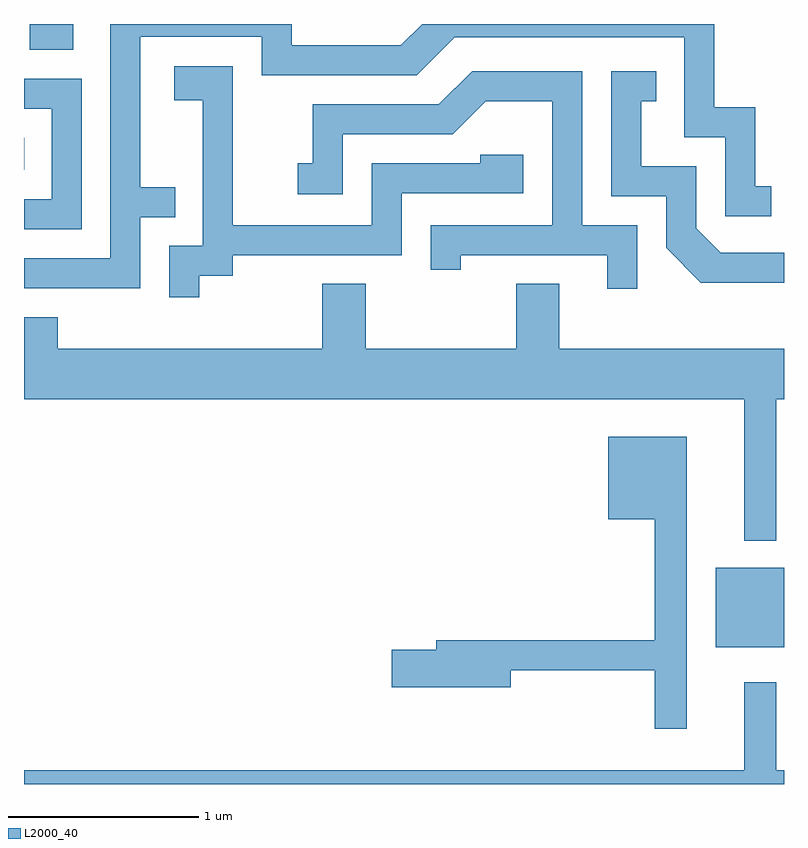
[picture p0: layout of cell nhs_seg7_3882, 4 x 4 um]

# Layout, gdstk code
import gdstk
lib = gdstk.Library(unit=1e-6, precision=1e-09)
def R(c, l, rs):  # rectangles x0, y0, x1, y1
    for r in rs: c.add(gdstk.rectangle(r[:2], r[2:], *l))
def P(c, l, *ps):  # polygons
    for p in ps: c.add(gdstk.Polygon(p, *l))
L2000_40 = (2000, 40)

nhs_seg7_3882 = lib.new_cell('nhs_seg7_3882')
R(nhs_seg7_3882, L2000_40, [(307.251,1752.971,307.611,1753.389), (303.611,1755.486,303.613,1755.654), (303.641,1756.116,303.869,1756.252)])
P(nhs_seg7_3882, L2000_40, [(304.224,1755.236),(304.408,1755.236),(304.408,1755.394),(304.224,1755.394),(304.224,1756.186),(304.861,1756.186),(304.861,1755.981),(305.677,1755.981),(305.877,1756.181),(307.086,1756.181),(307.086,1755.656),(307.301,1755.656),(307.301,1755.241),(307.543,1755.241),(307.543,1755.399),(307.459,1755.399),(307.459,1755.814),(307.244,1755.814),(307.244,1756.252),(305.707,1756.252),(305.594,1756.139),(305.019,1756.139),(305.019,1756.252),(304.066,1756.252),(304.066,1755.019),(303.611,1755.019),(303.611,1754.861),(304.224,1754.861)],
  [(304.534,1754.926),(304.709,1754.926),(304.709,1755.036),(305.599,1755.036),(305.599,1755.361),(306.239,1755.361),(306.239,1755.564),(306.011,1755.564),(306.011,1755.519),(305.441,1755.519),(305.441,1755.194),(304.709,1755.194),(304.709,1756.029),(304.401,1756.029),(304.401,1755.851),(304.551,1755.851),(304.551,1755.084),(304.376,1755.084),(304.376,1754.813),(304.534,1754.813)],
  [(307.611,1755.049),(307.277,1755.049),(307.149,1755.177),(307.149,1755.504),(306.859,1755.504),(306.859,1755.846),(306.938,1755.846),(306.938,1756.004),(306.701,1756.004),(306.701,1755.346),(306.991,1755.346),(306.991,1755.074),(307.174,1754.891),(307.611,1754.891)],
  [(306.839,1755.194),(306.549,1755.194),(306.549,1756.004),(305.969,1756.004),(305.794,1755.829),(305.131,1755.829),(305.131,1755.519),(305.053,1755.519),(305.053,1755.356),(305.289,1755.356),(305.289,1755.671),(305.867,1755.671),(306.042,1755.846),(306.391,1755.846),(306.391,1755.194),(305.751,1755.194),(305.751,1754.958),(305.909,1754.958),(305.909,1755.036),(306.681,1755.036),(306.681,1754.858),(306.839,1754.858)],
  [(303.914,1755.964),(303.611,1755.964),(303.611,1755.806),(303.756,1755.806),(303.756,1755.329),(303.611,1755.329),(303.611,1755.171),(303.914,1755.171)],
  [(307.569,1754.276),(307.611,1754.276),(307.611,1754.544),(306.429,1754.544),(306.429,1754.884),(306.201,1754.884),(306.201,1754.544),(305.409,1754.544),(305.409,1754.884),(305.181,1754.884),(305.181,1754.544),(303.789,1754.544),(303.789,1754.709),(303.611,1754.709),(303.611,1754.276),(307.401,1754.276),(307.401,1753.533),(307.569,1753.533)],
  [(307.099,1754.079),(306.686,1754.079),(306.686,1753.646),(306.931,1753.646),(306.931,1753.009),(305.781,1753.009),(305.781,1752.959),(305.546,1752.959),(305.546,1752.761),(306.174,1752.761),(306.174,1752.851),(306.931,1752.851),(306.931,1752.543),(307.099,1752.543)],
  [(307.611,1752.324),(307.569,1752.324),(307.569,1752.788),(307.401,1752.788),(307.401,1752.324),(303.611,1752.324),(303.611,1752.252),(307.611,1752.252)])

lib.write_gds('nhs_seg7_3882.gds')
